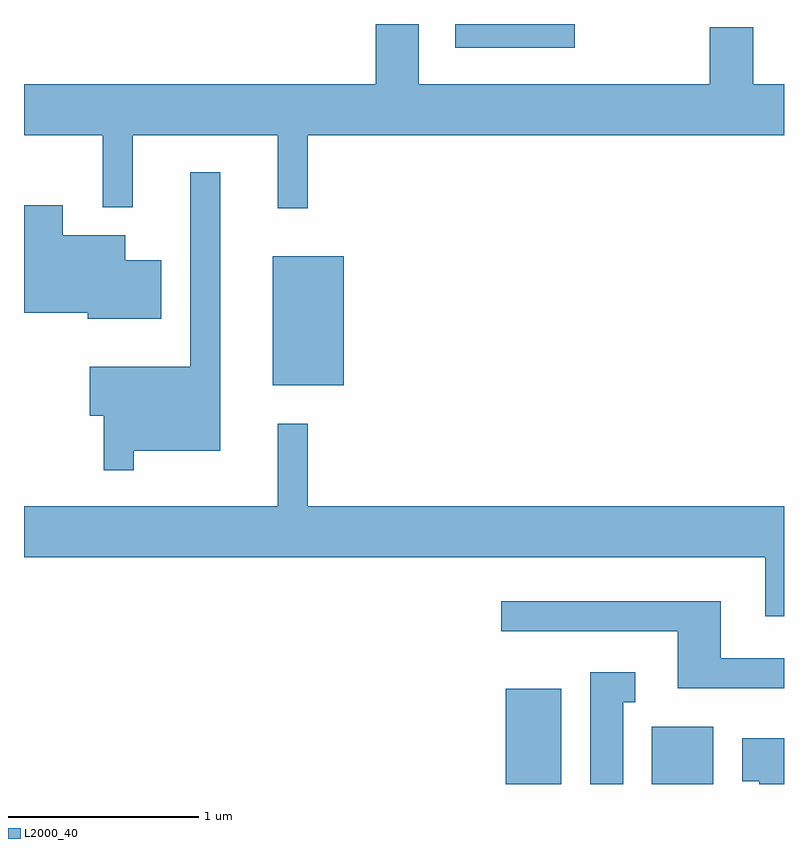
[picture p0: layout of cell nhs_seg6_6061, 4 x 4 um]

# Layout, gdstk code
import gdstk
lib = gdstk.Library(unit=1e-6, precision=1e-09)
def R(c, l, rs):  # rectangles x0, y0, x1, y1
    for r in rs: c.add(gdstk.rectangle(r[:2], r[2:], *l))
def P(c, l, *ps):  # polygons
    for p in ps: c.add(gdstk.Polygon(p, *l))
L2000_40 = (2000, 40)

nhs_seg6_6061 = lib.new_cell('nhs_seg6_6061')
R(nhs_seg6_6061, L2000_40, [(372.146,1562.162,372.439,1562.664), (372.916,1562.162,373.239,1562.464), (370.921,1564.261,371.294,1564.939), (371.881,1566.036,372.509,1566.162)])
P(nhs_seg6_6061, L2000_40, [(371.104,1565.576),(373.611,1565.576),(373.611,1565.844),(373.449,1565.844),(373.449,1566.144),(373.221,1566.144),(373.221,1565.844),(371.689,1565.844),(371.689,1566.162),(371.461,1566.162),(371.461,1565.844),(369.611,1565.844),(369.611,1565.576),(370.026,1565.576),(370.026,1565.198),(370.184,1565.198),(370.184,1565.576),(370.946,1565.576),(370.946,1565.193),(371.104,1565.193)],
  [(370.189,1563.916),(370.644,1563.916),(370.644,1565.383),(370.486,1565.383),(370.486,1564.359),(369.956,1564.359),(369.956,1564.101),(370.031,1564.101),(370.031,1563.813),(370.189,1563.813)],
  [(370.334,1564.919),(370.144,1564.919),(370.144,1565.049),(369.814,1565.049),(369.814,1565.209),(369.611,1565.209),(369.611,1564.641),(369.946,1564.641),(369.946,1564.611),(370.334,1564.611)],
  [(373.611,1563.624),(371.104,1563.624),(371.104,1564.058),(370.946,1564.058),(370.946,1563.624),(369.611,1563.624),(369.611,1563.356),(373.511,1563.356),(373.511,1563.046),(373.611,1563.046)],
  [(373.611,1562.824),(373.279,1562.824),(373.279,1563.124),(372.123,1563.124),(372.123,1562.966),(373.051,1562.966),(373.051,1562.666),(373.611,1562.666)],
  [(372.764,1562.591),(372.828,1562.591),(372.828,1562.749),(372.591,1562.749),(372.591,1562.162),(372.764,1562.162)],
  [(373.611,1562.404),(373.391,1562.404),(373.391,1562.176),(373.481,1562.176),(373.481,1562.162),(373.611,1562.162)])

lib.write_gds('nhs_seg6_6061.gds')
